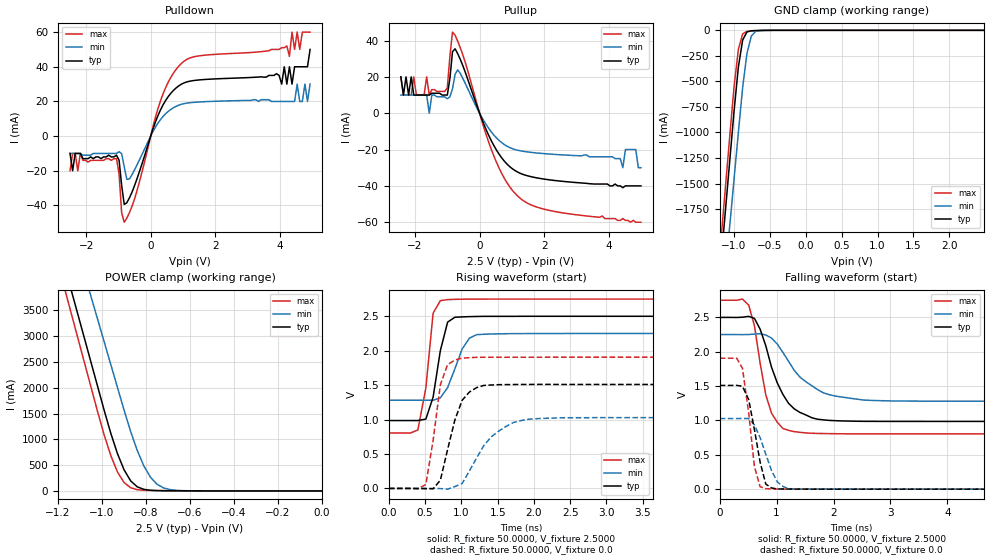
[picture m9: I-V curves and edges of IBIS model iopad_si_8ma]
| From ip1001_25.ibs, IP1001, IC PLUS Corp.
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|   Model iopad_si_8ma
[Model]  iopad_si_8ma
Model_type I/O
Polarity   Non-Inverting
Enable   Active-Low
Vinl =   0.8000V
Vinh =   1.8000V
Vmeas =  1.2500V
C_comp   0.3000pF   0.2400pF   0.3600pF
[Temperature Range]   27.0000   100.0000   0.0
[Voltage Range]   2.5000V   2.2500V   2.7500V
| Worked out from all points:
|   slope of the pulldown table from 0 to 0.375 V, typ, clamps not added: 21.1 ohm
|   slope of the pullup table from 0 to 0.375 V, typ, clamps not added: 24.1 ohm
|   GND clamp passes 1 mA (typ) near -0.63 V on its own axis
|   POWER clamp passes 1 mA (typ) near -0.57 V on its own axis
|   rising waveform, R_fixture 50.0000, V_fixture 2.5000: 20-80 % time 159ps typ, 216ps min, 131ps max; typ from 0.986 V to 2.5 V
|   rising waveform, R_fixture 50.0000, V_fixture 0.0: 20-80 % time 234ps typ, 419ps min, 156ps max; typ from 0 V to 1.51 V
|   falling waveform, R_fixture 50.0000, V_fixture 2.5000: 20-80 % time 415ps typ, 617ps min, 264ps max; typ from 2.5 V to 0.986 V
|   falling waveform, R_fixture 50.0000, V_fixture 0.0: 20-80 % time 207ps typ, 280ps min, 164ps max; typ from 1.51 V to 0 V
[Pulldown]
|Voltage   I(typ)   I(min)   I(max)
-2.5V     -10mA      -10mA      -20mA
-2.42V    -20mA      -10mA      -10mA
-1.06V    -11mA      -10mA      -13mA
-820mV    -39.41mA   -17.8mA    -49.66mA
-660mV    -35.69mA   -24.71mA   -44.19mA
300mV     14.95mA    9.453mA    20.13mA
940mV     29.83mA    18.27mA    41.7mA
4.22V     30mA       20mA       52mA
4.3V      40mA       20mA       46mA
4.38V     30mA       20mA       60mA
4.46V     40mA       20mA       50mA
4.94V     50mA       30mA       60mA
[Pullup]
|Voltage   I(typ)   I(min)   I(max)
-2.44V    20mA       10mA       20mA
-2.36V    10mA       10mA       10mA
-2.28V    20mA       10mA       10mA
-2.04V    10mA       10mA       20mA
-1.08V    10mA       9mA        12mA
-840mV    33.86mA    13.4mA     44.67mA
-680mV    32.84mA    23.86mA    39.73mA
360mV     -15.04mA   -10.2mA    -19.79mA
1.16V     -32.22mA   -20.31mA   -45.27mA
4.44V     -41mA      -30mA      -58mA
4.84V     -40mA      -20mA      -60mA
5V        -40mA      -30mA      -60mA
[GND_clamp]
|Voltage   I(typ)   I(min)   I(max)
-2.5V     -12.93A    -12.87A    -12.97A
-1.18V    -2.249A    -2.828A    -2.033A
-1.12V    -1.763A    -2.371A    -1.535A
-1.06V    -1.278A    -1.914A    -1.038A
-1V       -792.5mA   -1.458A    -553.9mA
-940mV    -360.7mA   -1.001A    -186.7mA
-880mV    -94.64mA   -559.3mA   -34.17mA
-820mV    -15.98mA   -224.8mA   -9.643mA
-760mV    -4.328mA   -57.1mA    -5.898mA
-700mV    -2.122mA   -10.8mA    -4.108mA
-640mV    -1.103mA   -2.066mA   -2.655mA
2.48V     17.28pA    560.9nA    -93.93pA
[POWER_clamp]
|Voltage   I(typ)   I(min)   I(max)
-2.49V    24.9A      24.89A     24.94A
-1.17V    4.361A     5.529A     3.923A
-1.14V    3.894A     5.089A     3.445A
-1.11V    3.427A     4.649A     2.967A
-1.05V    2.493A     3.769A     2.012A
-960mV    1.115A     2.449A     684.3mA
-900mV    410.3mA    1.569A     163.2mA
-870mV    195.4mA    1.152A     62.28mA
-810mV    30.55mA    484.8mA    12.48mA
-750mV    6.57mA     129.6mA    6.615mA
-630mV    1.841mA    4.742mA    3.357mA
0V        80.13pA    246.2pA    118.4pA
[Ramp]
| variable   typ   min   max
dV/dt_r  0.9060/0.2341n   0.6168/0.4108n   1.1436/0.1557n
dV/dt_f  0.9086/0.4151n   0.5814/0.6069n   1.1669/0.2641n
R_load = 50.0000
[Rising Waveform]
R_fixture= 50.0000
V_fixture= 2.5000
V_fixture_min= 2.2500
V_fixture_max= 2.7500
|time   V(typ)   V(min)   V(max)
0s        985.7mV    1.281V     805.3mV
400ps     986.1mV    1.281V     850.2mV
510ps     1.007V     1.281V     1.459V
610ps     1.326V     1.28V      2.545V
710ps     2.002V     1.316V     2.727V
810ps     2.415V     1.465V     2.742V
1.01ns    2.491V     2.025V     2.748V
1.11ns    2.495V     2.182V     2.749V
1.21ns    2.497V     2.233V     2.749V
10ns      2.5V       2.25V      2.75V
[Rising Waveform]
R_fixture= 50.0000
V_fixture= 0.0
V_fixture_min= 0.0
V_fixture_max= 0.0
|time   V(typ)   V(min)   V(max)
0s        0V         0V         0V
510ps     -3.399mV   -970.1nV   57.91mV
610ps     -5.019mV   186.7uV    698.7mV
710ps     119.8mV    -2.217mV   1.507V
810ps     566.7mV    -10.6mV    1.798V
1.01ns    1.28V      72.35mV    1.892V
1.21ns    1.464V     442.5mV    1.904V
1.41ns    1.502V     747.3mV    1.905V
1.92ns    1.51V      1.004V     1.905V
10ns      1.51V      1.028V     1.906V
[Falling Waveform]
R_fixture= 50.0000
V_fixture= 2.5000
V_fixture_min= 2.2500
V_fixture_max= 2.7500
|time   V(typ)   V(min)   V(max)
0s        2.5V       2.25V      2.75V
510ps     2.515V     2.251V     2.679V
610ps     2.486V     2.257V     2.381V
710ps     2.33V      2.263V     1.837V
810ps     2.087V     2.244V     1.373V
910ps     1.777V     2.2V       1.109V
1.21ns    1.249V     1.861V     855.9mV
1.82ns    1.009V     1.403V     809.5mV
2.53ns    987.5mV    1.297V     805.3mV
10ns      985.7mV    1.281V     805.2mV
[Falling Waveform]
R_fixture= 50.0000
V_fixture= 0.0
V_fixture_min= 0.0
V_fixture_max= 0.0
|time   V(typ)   V(min)   V(max)
0s        1.51V      1.028V     1.906V
300ps     1.511V     1.027V     1.905V
400ps     1.497V     1.03V      1.759V
510ps     1.304V     1.027V     1.106V
610ps     867.2mV    935.8mV    329.5mV
710ps     394.3mV    750.5mV    36.38mV
810ps     73.91mV    508.6mV    7.469mV
1.01ns    3.278mV    108.1mV    2.3mV
1.21ns    2.019mV    4.848mV    665.1uV
10ns      0V         -1.896uV   0V
